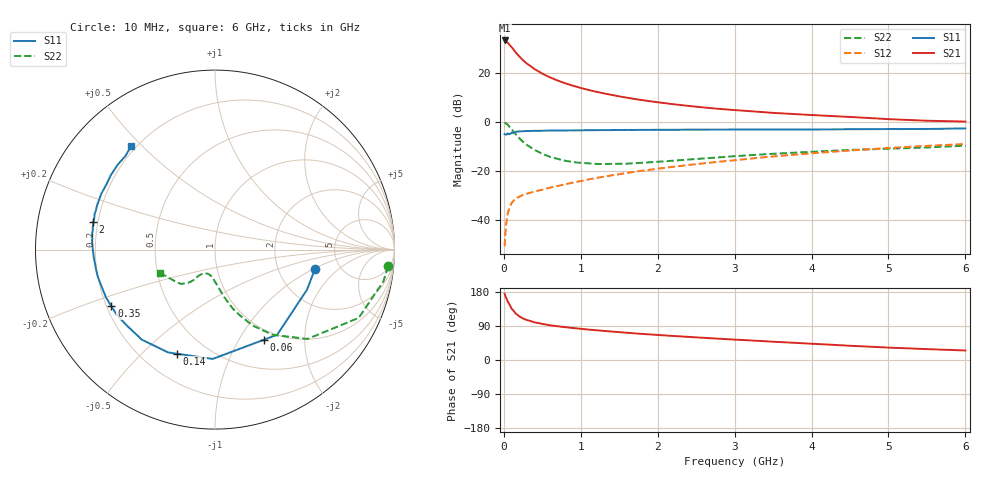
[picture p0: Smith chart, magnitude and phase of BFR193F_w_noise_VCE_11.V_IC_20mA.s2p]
! (c) 2017  Infineon Technologies AG, Munich
! Infineon Technologies  Discrete & RF Semiconductors
! BFR193F
! VCE =  11. V,  IC =  20 mA
! Common Emitter S-Parameters:  Jan 2017
# GHz  S  MA  R  50
!  f  S11  S21  S12  S22
! GHz  MAG  ANG  MAG  ANG  MAG  ANG  MAG  ANG
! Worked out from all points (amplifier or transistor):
!   77 points, 10 MHz to 6 GHz, reference 50 ohm
!   highest |S21| = 33.1 dB at 10 MHz (marker M1)
!   |S21| within 3 dB of that: start of sweep to 108.2 MHz
!   unconditionally stable (mu >= 1): 1.367 GHz to 2.74 GHz
!   at 130 MHz: K = 0.28, MSG = 30.6 dB, |S12| = -31.8 dB
!   at 2.2 GHz: K = 1.03, MAG = 11.7 dB, |S12| = -18.2 dB
!   at 6 GHz: K = 0.82, MSG = 4.6 dB, |S12| = -9.0 dB
!   lowest NFmin = 1.04 dB at 450 MHz
!   S11 on the Smith chart (normalised r, x): 10 MHz: 3.26, -1.03; 60 MHz: 0.87, -1.29; 140 MHz: 0.34, -0.64; 350 MHz: 0.22, -0.24; 2 GHz: 0.18, +0.11; 6 GHz: 0.18, +0.46
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0.01  0.5671 -10.9  45.41 174.4  0.003 80.6  0.9691 -5.5
0.02  0.5594 -23.4  44.61 168.8  0.0055 76.5  0.9549 -10.7
0.05  0.5875 -53.9  41.17 154.4  0.0138 68.1  0.8866 -25.4
0.06  0.5717 -61.3  39.31 151.2  0.0155 64.5  0.8463 -28.5
0.1  0.6092 -91.2  33.36 135.5  0.0225 55.7  0.7166 -44.0
0.14  0.6175 -110.0  27.77 126.4  0.0266 50.0  0.5996 -53.1
0.15  0.6296 -114.5  26.51 123.5  0.0277 48.9  0.5733 -55.9
0.2  0.6465 -129.1  21.58 115.3  0.0303 46.2  0.4724 -63.6
0.25  0.6485 -139.5  17.95 109.6  0.0331 44.7  0.3952 -69.0
0.3  0.6572 -146.4  15.38 105.4  0.035 45.7  0.3426 -73.3
0.35  0.6578 -151.3  13.59 102.7  0.0368 46.4  0.3057 -75.8
0.4  0.6632 -156.2  11.84 99.3  0.0387 47.0  0.2696 -79.0
0.5  0.665 -162.6  9.606 95.2  0.0421 49.6  0.2255 -83.2
0.6  0.6703 -167.1  8.075 91.7  0.0463 52.1  0.1961 -86.8
0.8  0.6731 -173.5  6.106 86.6  0.0542 56.9  0.1629 -93.3
1.1  0.6811 179.8  4.487 80.3  0.0681 62.2  0.1448 -101.5
2  0.6959 167.4  2.521 66.1  0.1126 69.0  0.1556 -118.7
2.1  0.6952 166.5  2.41 64.8  0.1177 69.3  0.1595 -119.5
3.1  0.7027 157.3  1.704 52.8  0.1735 70.7  0.2068 -125.2
4.1  0.7067 148.2  1.362 41.9  0.2376 68.8  0.2521 -131.4
5.1  0.7194 137.9  1.127 31.9  0.3023 64.3  0.29 -144.2
6  0.7416 129.2  1.021 25.1  0.3563 59.3  0.3314 -156.9
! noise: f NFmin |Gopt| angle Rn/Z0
0.45  1.04  0.33  168  0.06
0.9  1.12  0.39  169  0.07
1.9  1.71  0.57  -171  0.06
2.4  2.01  0.61  -161  0.1
